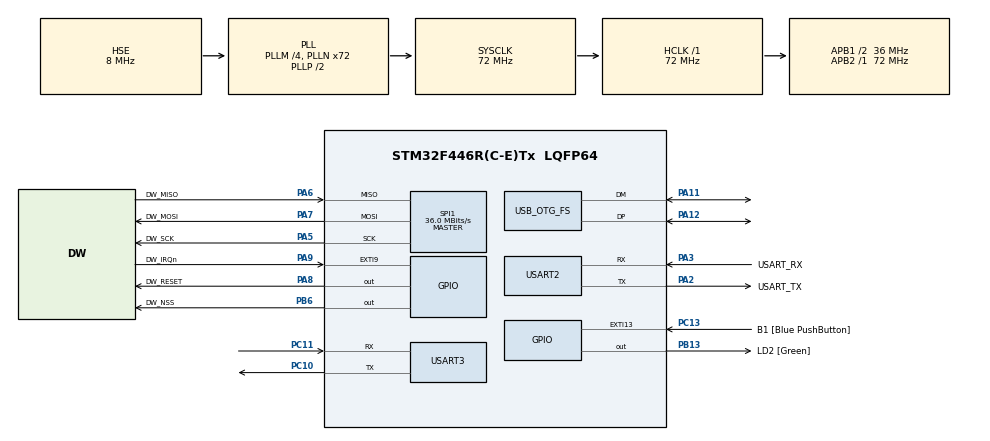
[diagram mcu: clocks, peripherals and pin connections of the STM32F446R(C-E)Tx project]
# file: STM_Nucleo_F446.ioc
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Mcu.Family=STM32F4
Mcu.Name=STM32F446R(C-E)Tx
Mcu.Package=LQFP64
NVIC.OTG_FS_IRQn=true\:0\:0\:false\:false\:true\:false\:true\:true
NVIC.PriorityGroup=NVIC_PRIORITYGROUP_0
PA11.Mode=Device_Only
PA11.Signal=USB_OTG_FS_DM
PA12.Mode=Device_Only
PA12.Signal=USB_OTG_FS_DP
PA13.GPIO_Label=TMS
PA13.Mode=Serial_Wire
PA13.Signal=SYS_JTMS-SWDIO
PA14.GPIO_Label=TCK
PA14.Mode=Serial_Wire
PA14.Signal=SYS_JTCK-SWCLK
PA2.GPIO_Label=USART_TX
PA2.Mode=Asynchronous
PA2.Signal=USART2_TX
PA3.GPIO_Label=USART_RX
PA3.Mode=Asynchronous
PA3.Signal=USART2_RX
PA5.GPIO_Label=DW_SCK
PA5.Mode=Full_Duplex_Master
PA5.Signal=SPI1_SCK
PA6.GPIO_Label=DW_MISO
PA6.Mode=Full_Duplex_Master
PA6.Signal=SPI1_MISO
PA7.GPIO_Label=DW_MOSI
PA7.Mode=Full_Duplex_Master
PA7.Signal=SPI1_MOSI
PA8.GPIO_Label=DW_RESET
PA8.GPIO_ModeDefaultOutputPP=GPIO_MODE_OUTPUT_OD
PA8.GPIO_PuPd=GPIO_NOPULL
PA8.GPIO_Speed=GPIO_SPEED_FREQ_MEDIUM
PA8.Signal=GPIO_Output
PA9.GPIO_Label=DW_IRQn
PA9.GPIO_ModeDefaultEXTI=GPIO_MODE_IT_RISING
PA9.Signal=GPXTI9
PB13.GPIO_Label=LD2 [Green]
PB13.Signal=GPIO_Output
PB3.GPIO_Label=SWO
PB3.Signal=SYS_JTDO-SWO
PB6.GPIO_Label=DW_NSS
PB6.GPIO_PuPd=GPIO_PULLUP
PB6.GPIO_Speed=GPIO_SPEED_FREQ_MEDIUM
PB6.PinState=GPIO_PIN_SET
PB6.Signal=GPIO_Output
PC10.Mode=Asynchronous
PC10.Signal=USART3_TX
PC11.Mode=Asynchronous
PC11.Signal=USART3_RX
PC13.GPIO_Label=B1 [Blue PushButton]
PC13.GPIO_ModeDefaultEXTI=GPIO_MODE_IT_FALLING
PC13.Signal=GPXTI13
PC14-OSC32_IN.Mode=LSE-External-Oscillator
PC14-OSC32_IN.Signal=RCC_OSC32_IN
PC15-OSC32_OUT.Mode=LSE-External-Oscillator
PC15-OSC32_OUT.Signal=RCC_OSC32_OUT
PH0-OSC_IN.Mode=HSE-External-Oscillator
PH0-OSC_IN.Signal=RCC_OSC_IN
PH1-OSC_OUT.Mode=HSE-External-Oscillator
PH1-OSC_OUT.Signal=RCC_OSC_OUT
ProjectManager.HeapSize=0x200
ProjectManager.StackSize=0x400
ProjectManager.TargetToolchain=STM32CubeIDE
RCC.48MHZClocksFreq_Value=84000000
RCC.AHBFreq_Value=72000000
RCC.APB1CLKDivider=RCC_HCLK_DIV2
RCC.APB1Freq_Value=36000000
RCC.APB1TimFreq_Value=72000000
RCC.APB2Freq_Value=72000000
RCC.APB2TimFreq_Value=72000000
RCC.CortexFreq_Value=72000000
RCC.FLatency-AdvancedSettings=FLASH_LATENCY_2
RCC.HCLKFreq_Value=72000000
RCC.HSE_VALUE=8000000
RCC.HSI_VALUE=16000000
RCC.PLLM=4
RCC.PLLN=72
RCC.PLLQ=3
RCC.PLLSourceVirtual=RCC_PLLSOURCE_HSE
RCC.SYSCLKFreq_VALUE=72000000
RCC.SYSCLKSource=RCC_SYSCLKSOURCE_PLLCLK
RCC.USBFreq_Value=48000000
RCC.VCOOutputFreq_Value=144000000
SPI1.BaudRatePrescaler=SPI_BAUDRATEPRESCALER_2
SPI1.CalculateBaudRate=36.0 MBits/s
SPI1.Direction=SPI_DIRECTION_2LINES
SPI1.Mode=SPI_MODE_MASTER
SPI1.VirtualType=VM_MASTER
USART2.VirtualMode=VM_ASYNC
USART3.VirtualMode=VM_ASYNC
USB_DEVICE.CLASS_NAME_FS=CDC
USB_DEVICE.VirtualMode-CDC_FS=Cdc
USB_DEVICE.VirtualModeFS=Cdc_FS
USB_OTG_FS.VirtualMode=Device_Only
VP_USB_DEVICE_VS_USB_DEVICE_CDC_FS.Mode=CDC_FS
board=NUCLEO-F446RE

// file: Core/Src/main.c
/* USER CODE BEGIN Header */
/**
  ******************************************************************************
  * @file           : main.c
  * @brief          : Main program body
  ******************************************************************************
  * @attention
  *
  * Copyright (c) 2024 STMicroelectronics.
  * All rights reserved.
  *
  * This software is licensed under terms that can be found in the LICENSE file
  * in the root directory of this software component.
  * If no LICENSE file comes with this software, it is provided AS-IS.
  *
  ******************************************************************************
  */
/* USER CODE END Header */
#include "main.h"
#include "usb_device.h"

/* USER CODE BEGIN Includes */
#include <port.h>

#include "Applications/Tag_app/tag_app.h"
#include "Applications/Anchor_app/anchor_app.h"

/* USER CODE END Includes */

SPI_HandleTypeDef hspi1;

UART_HandleTypeDef huart2;
UART_HandleTypeDef huart3;

/* USER CODE BEGIN PV */
SPI_HandleTypeDef   hspi4;
SPI_HandleTypeDef   *hcurrent_active_spi=&hspi1;//Is the current active SPI pointer - 1 or 2
uint16_t            pin_io_active_spi=DW_NSS_Pin;//CS IO for SPI. Default SPI1
GPIO_PinState       SPI_CS_state=GPIO_PIN_RESET;//Determine the CS for the IO
host_using_spi_e    host_spi = SPI_1;

/* USER CODE END PV */

void SystemClock_Config(void);
static void MX_GPIO_Init(void);
static void MX_SPI1_Init(void);
static void MX_USART2_UART_Init(void);
static void MX_USART3_UART_Init(void);

/* USER CODE BEGIN 0 */
void test_run_info(unsigned char *data)
{
    uint16_t data_length;

    data_length = strlen((const char *)data);

    HAL_UART_Transmit(&huart3, (uint8_t *)data, data_length, HAL_MAX_DELAY);
    uint8_t newline[] = "\n\r";
    HAL_UART_Transmit(&huart3, newline, sizeof(newline) - 1, HAL_MAX_DELAY);
}

void delay_us(uint32_t us)
{
	//Todo: Implement this if needed.
}

//#define TAG_APP
#define ANCHOR_APP

//extern int simple_rx(void);
//extern int simple_tx(void);
//extern int ss_twr_initiator(void);
//extern int ss_twr_responder(void);
//extern int ds_twr_initiator(void);
//extern int ds_twr_responder(void);
//extern int simple_rx_nlos(void);
//
//
//extern void blink_init(void);
//extern void listener_init(void);
//extern int blink(void);
//extern int listener(void);

/* USER CODE END 0 */

int main(void)
{

  /* MCU Configuration--------------------------------------------------------*/

  /* Reset of all peripherals, Initializes the Flash interface and the Systick. */
  HAL_Init();

  /* Configure the system clock */
  SystemClock_Config();

  /* Initialize all configured peripherals */
  MX_GPIO_Init();
  MX_SPI1_Init();
  MX_USART2_UART_Init();
  MX_USB_DEVICE_Init();
  MX_USART3_UART_Init();
  /* USER CODE BEGIN 2 */

  //simple_rx();
  //simple_tx();
  //simple_rx_nlos();
  //ss_twr_initiator();
  //ss_twr_responder();

#if defined(TAG_APP)

  tag_application(1);

#elif  defined(ANCHOR_APP)

  uint16_t coordinates[3] = {10000,20000,30000};  // In centimeters
  anchor_application(2,coordinates);

#else
	#error "Define either TAG_APP or ANCHOR_APP before compiling."
#endif

  /* USER CODE END 2 */

  /* Infinite loop */
  /* USER CODE BEGIN WHILE */

  //blink_init();
  //listener_init();
  //int num = 0;
  //unsigned char buff[20];

  while (1)
  {

	  //snprintf(buff,sizeof(buff),"Hello%d",num++);
	  //test_run_info(buff);
	  //HAL_Delay(1000);
	  //blink();
	  //listener();
	  //HAL_Delay(1000);
    /* USER CODE END WHILE */

  }
}

void SystemClock_Config(void)
{
  RCC_OscInitTypeDef RCC_OscInitStruct = {0};
  RCC_ClkInitTypeDef RCC_ClkInitStruct = {0};

  /** Configure the main internal regulator output voltage
  */
  __HAL_RCC_PWR_CLK_ENABLE();
  __HAL_PWR_VOLTAGESCALING_CONFIG(PWR_REGULATOR_VOLTAGE_SCALE3);

  /** Initializes the RCC Oscillators according to the specified parameters
  * in the RCC_OscInitTypeDef structure.
  */
  RCC_OscInitStruct.OscillatorType = RCC_OSCILLATORTYPE_HSE;
  RCC_OscInitStruct.HSEState = RCC_HSE_ON;
  RCC_OscInitStruct.PLL.PLLState = RCC_PLL_ON;
  RCC_OscInitStruct.PLL.PLLSource = RCC_PLLSOURCE_HSE;
  RCC_OscInitStruct.PLL.PLLM = 4;
  RCC_OscInitStruct.PLL.PLLN = 72;
  RCC_OscInitStruct.PLL.PLLP = RCC_PLLP_DIV2;
  RCC_OscInitStruct.PLL.PLLQ = 3;
  RCC_OscInitStruct.PLL.PLLR = 2;
  if (HAL_RCC_OscConfig(&RCC_OscInitStruct) != HAL_OK)
  {
    Error_Handler();
  }

  /** Initializes the CPU, AHB and APB buses clocks
  */
  RCC_ClkInitStruct.ClockType = RCC_CLOCKTYPE_HCLK|RCC_CLOCKTYPE_SYSCLK
                              |RCC_CLOCKTYPE_PCLK1|RCC_CLOCKTYPE_PCLK2;
  RCC_ClkInitStruct.SYSCLKSource = RCC_SYSCLKSOURCE_PLLCLK;
  RCC_ClkInitStruct.AHBCLKDivider = RCC_SYSCLK_DIV1;
  RCC_ClkInitStruct.APB1CLKDivider = RCC_HCLK_DIV2;
  RCC_ClkInitStruct.APB2CLKDivider = RCC_HCLK_DIV1;

  if (HAL_RCC_ClockConfig(&RCC_ClkInitStruct, FLASH_LATENCY_2) != HAL_OK)
  {
    Error_Handler();
  }
}

static void MX_SPI1_Init(void)
{

  /* SPI1 parameter configuration*/
  hspi1.Instance = SPI1;
  hspi1.Init.Mode = SPI_MODE_MASTER;
  hspi1.Init.Direction = SPI_DIRECTION_2LINES;
  hspi1.Init.DataSize = SPI_DATASIZE_8BIT;
  hspi1.Init.CLKPolarity = SPI_POLARITY_LOW;
  hspi1.Init.CLKPhase = SPI_PHASE_1EDGE;
  hspi1.Init.NSS = SPI_NSS_SOFT;
  hspi1.Init.BaudRatePrescaler = SPI_BAUDRATEPRESCALER_2;
  hspi1.Init.FirstBit = SPI_FIRSTBIT_MSB;
  hspi1.Init.TIMode = SPI_TIMODE_DISABLE;
  hspi1.Init.CRCCalculation = SPI_CRCCALCULATION_DISABLE;
  hspi1.Init.CRCPolynomial = 10;
  if (HAL_SPI_Init(&hspi1) != HAL_OK)
  {
    Error_Handler();
  }

}

static void MX_USART2_UART_Init(void)
{

  huart2.Instance = USART2;
  huart2.Init.BaudRate = 115200;
  huart2.Init.WordLength = UART_WORDLENGTH_8B;
  huart2.Init.StopBits = UART_STOPBITS_1;
  huart2.Init.Parity = UART_PARITY_NONE;
  huart2.Init.Mode = UART_MODE_TX_RX;
  huart2.Init.HwFlowCtl = UART_HWCONTROL_NONE;
  huart2.Init.OverSampling = UART_OVERSAMPLING_16;
  if (HAL_UART_Init(&huart2) != HAL_OK)
  {
    Error_Handler();
  }

}

static void MX_USART3_UART_Init(void)
{

  huart3.Instance = USART3;
  huart3.Init.BaudRate = 115200;
  huart3.Init.WordLength = UART_WORDLENGTH_8B;
  huart3.Init.StopBits = UART_STOPBITS_1;
  huart3.Init.Parity = UART_PARITY_NONE;
  huart3.Init.Mode = UART_MODE_TX_RX;
  huart3.Init.HwFlowCtl = UART_HWCONTROL_NONE;
  huart3.Init.OverSampling = UART_OVERSAMPLING_16;
  if (HAL_UART_Init(&huart3) != HAL_OK)
  {
    Error_Handler();
  }

}

static void MX_GPIO_Init(void)
{
  GPIO_InitTypeDef GPIO_InitStruct = {0};

  /* GPIO Ports Clock Enable */
  __HAL_RCC_GPIOC_CLK_ENABLE();
  __HAL_RCC_GPIOH_CLK_ENABLE();
  __HAL_RCC_GPIOA_CLK_ENABLE();
  __HAL_RCC_GPIOB_CLK_ENABLE();

  /*Configure GPIO pin Output Level */
  HAL_GPIO_WritePin(LD2_GPIO_Port, LD2_Pin, GPIO_PIN_RESET);

  /*Configure GPIO pin Output Level */
  HAL_GPIO_WritePin(DW_RESET_GPIO_Port, DW_RESET_Pin, GPIO_PIN_RESET);

  /*Configure GPIO pin Output Level */
  HAL_GPIO_WritePin(DW_NSS_GPIO_Port, DW_NSS_Pin, GPIO_PIN_SET);

  /*Configure GPIO pin : B1_Pin */
  GPIO_InitStruct.Pin = B1_Pin;
  GPIO_InitStruct.Mode = GPIO_MODE_IT_FALLING;
  GPIO_InitStruct.Pull = GPIO_NOPULL;
  HAL_GPIO_Init(B1_GPIO_Port, &GPIO_InitStruct);

  /*Configure GPIO pin : LD2_Pin */
  GPIO_InitStruct.Pin = LD2_Pin;
  GPIO_InitStruct.Mode = GPIO_MODE_OUTPUT_PP;
  GPIO_InitStruct.Pull = GPIO_NOPULL;
  GPIO_InitStruct.Speed = GPIO_SPEED_FREQ_LOW;
  HAL_GPIO_Init(LD2_GPIO_Port, &GPIO_InitStruct);

  /*Configure GPIO pin : DW_RESET_Pin */
  GPIO_InitStruct.Pin = DW_RESET_Pin;
  GPIO_InitStruct.Mode = GPIO_MODE_OUTPUT_OD;
  GPIO_InitStruct.Pull = GPIO_NOPULL;
  GPIO_InitStruct.Speed = GPIO_SPEED_FREQ_MEDIUM;
  HAL_GPIO_Init(DW_RESET_GPIO_Port, &GPIO_InitStruct);

  /*Configure GPIO pin : DW_IRQn_Pin */
  GPIO_InitStruct.Pin = DW_IRQn_Pin;
  GPIO_InitStruct.Mode = GPIO_MODE_IT_RISING;
  GPIO_InitStruct.Pull = GPIO_NOPULL;
  HAL_GPIO_Init(DW_IRQn_GPIO_Port, &GPIO_InitStruct);

  /*Configure GPIO pin : DW_NSS_Pin */
  GPIO_InitStruct.Pin = DW_NSS_Pin;
  GPIO_InitStruct.Mode = GPIO_MODE_OUTPUT_PP;
  GPIO_InitStruct.Pull = GPIO_PULLUP;
  GPIO_InitStruct.Speed = GPIO_SPEED_FREQ_MEDIUM;
  HAL_GPIO_Init(DW_NSS_GPIO_Port, &GPIO_InitStruct);

}

void Error_Handler(void)
{
  __disable_irq();
  while (1)
  {
  }
}
